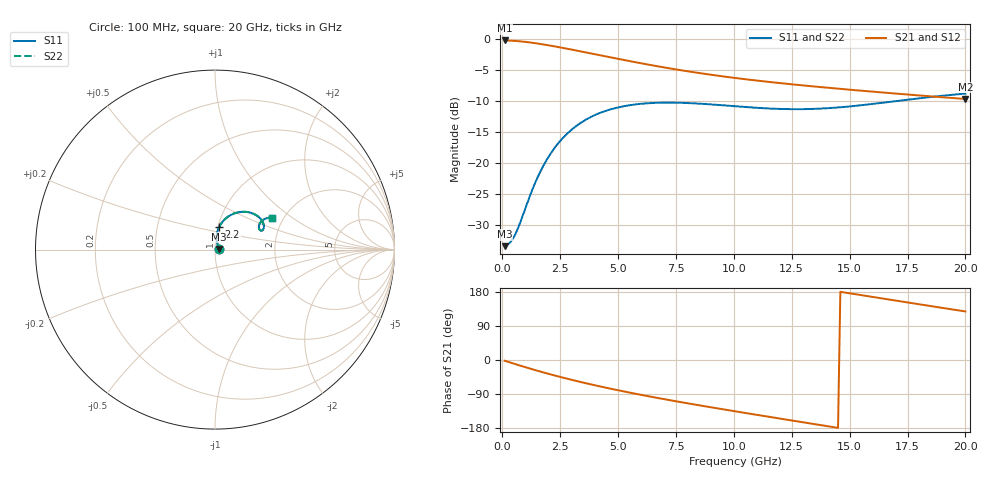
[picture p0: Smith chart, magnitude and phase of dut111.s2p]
! Created with skrf 1.9.0 (http://scikit-rf.org).
# GHz S RI R 50.0
!freq ReS11 ImS11 ReS21 ImS21 ReS12 ImS12 ReS22 ImS22
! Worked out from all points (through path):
!   200 points, 100 MHz to 20 GHz, reference 50 ohm
!   highest |S21| = -0.19 dB at 100 MHz (marker M1); lowest = -9.7 dB at 20 GHz (marker M2)
!   group delay of S21, straight-line fit = 30.4 ps
!   lowest |S11| = -33.5 dB at 100 MHz (marker M3), VSWR 1.04, Z = 52.1 + j0.359 ohm
!   |S11| at or under -10 dB: start of sweep to 17.01 GHz
!   |S22| runs from -33.5 to -8.8 dB; largest |S21 - S12| = 1.8e-15
!   S11 on the Smith chart (normalised r, x): 100 MHz: 1.04, +0.01; 2.2 GHz: 1.01, +0.26; 20 GHz: 1.75, +0.71
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0.1  0.0209 0.00344  0.9782 -0.0335  0.9782 -0.0335  0.0209 0.00344
0.3  0.0199 0.0101  0.9713 -0.0993  0.9713 -0.0993  0.0199 0.0101
0.5  0.018 0.0175  0.958 -0.1636  0.958 -0.1636  0.018 0.0175
0.7  0.0155 0.026  0.9389 -0.2253  0.9389 -0.2253  0.0155 0.026
1  0.0117 0.0414  0.9005 -0.3116  0.9005 -0.3116  0.0117 0.0414
1.5  0.00934 0.0739  0.8169 -0.4355  0.8169 -0.4355  0.00934 0.0739
1.8  0.0124 0.0959  0.7587 -0.497  0.7587 -0.497  0.0124 0.0959
2.2  0.0227 0.1254  0.6757 -0.5643  0.6757 -0.5643  0.0227 0.1254
2.8  0.0503 0.1646  0.5468 -0.6364  0.5468 -0.6364  0.0503 0.1646
3.5  0.0941 0.1959  0.3989 -0.6828  0.3989 -0.6828  0.0941 0.1959
4.2  0.141 0.2096  0.2613 -0.6968  0.2613 -0.6968  0.141 0.2096
4.9  0.1836 0.2087  0.1383 -0.6867  0.1383 -0.6867  0.1836 0.2087
5.8  0.2264 0.1936  0.00352 -0.6496  0.00352 -0.6496  0.2264 0.1936
6.8  0.2562 0.1686  -0.117 -0.5889  -0.117 -0.5889  0.2562 0.1686
8.4  0.2725 0.1309  -0.256 -0.4716  -0.256 -0.4716  0.2725 0.1309
10.1  0.2653 0.1087  -0.3482 -0.3379  -0.3482 -0.3379  0.2653 0.1087
11.7  0.2524 0.1073  -0.3945 -0.2121  -0.3945 -0.2121  0.2524 0.1073
13.4  0.2445 0.1217  -0.4076 -0.0836  -0.4076 -0.0836  0.2445 0.1217
15  0.2481 0.1424  -0.3899 0.0273  -0.3899 0.0273  0.2481 0.1424
16.7  0.2648 0.1631  -0.3442 0.1284  -0.3442 0.1284  0.2648 0.1631
18.4  0.2907 0.1755  -0.2776 0.2072  -0.2776 0.2072  0.2907 0.1755
20  0.3177 0.1764  -0.2031 0.2586  -0.2031 0.2586  0.3177 0.1764
